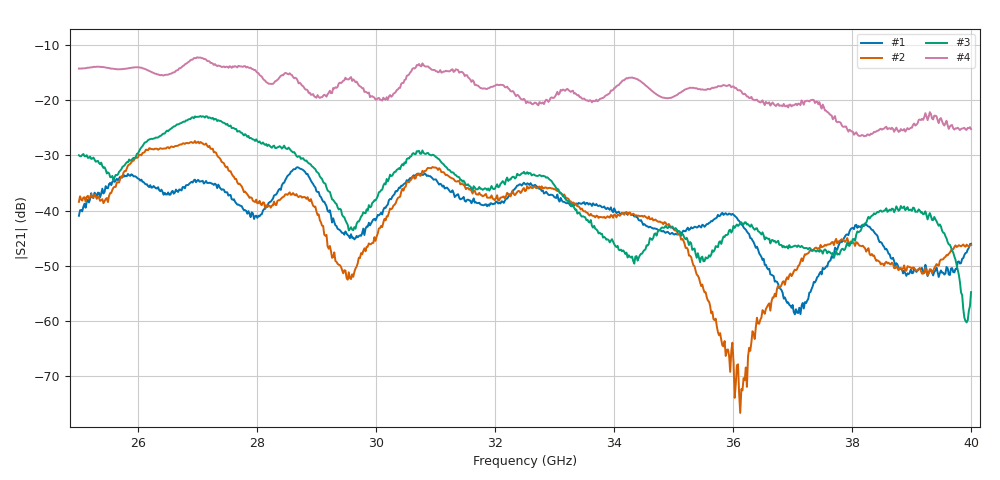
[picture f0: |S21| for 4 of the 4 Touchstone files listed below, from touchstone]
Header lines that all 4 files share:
!Keysight Technologies,N5225A,MY55451607,A.10.47.03
!Correction: S11(Full 2 Port(1,2))
!S21(Full 2 Port(1,2))
!S12(Full 2 Port(1,2))
!S22(Full 2 Port(1,2))
!S2P File: Measurements: S11, S21, S12, S22:
# Hz S  RI  R 50
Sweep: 25 GHz to 40 GHz
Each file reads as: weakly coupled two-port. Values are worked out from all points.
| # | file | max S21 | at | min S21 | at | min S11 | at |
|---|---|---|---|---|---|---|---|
| 1 | coup_port4.s2p | -32.15 dB | 28.68 GHz | -58.8 dB | 37.04 GHz | -36.9 dB | 38.31 GHz |
| 2 | coupl_port3.s2p | -27.42 dB | 26.95 GHz | -76.6 dB | 36.12 GHz | -37.2 dB | 38.31 GHz |
| 3 | coupling.s2p | -22.89 dB | 27.04 GHz | -60.2 dB | 39.92 GHz | -40.4 dB | 38.31 GHz |
| 4 | wilkinson.s2p | -12.25 dB | 26.99 GHz | -26.6 dB | 38.2 GHz | -31.3 dB | 31.39 GHz |
